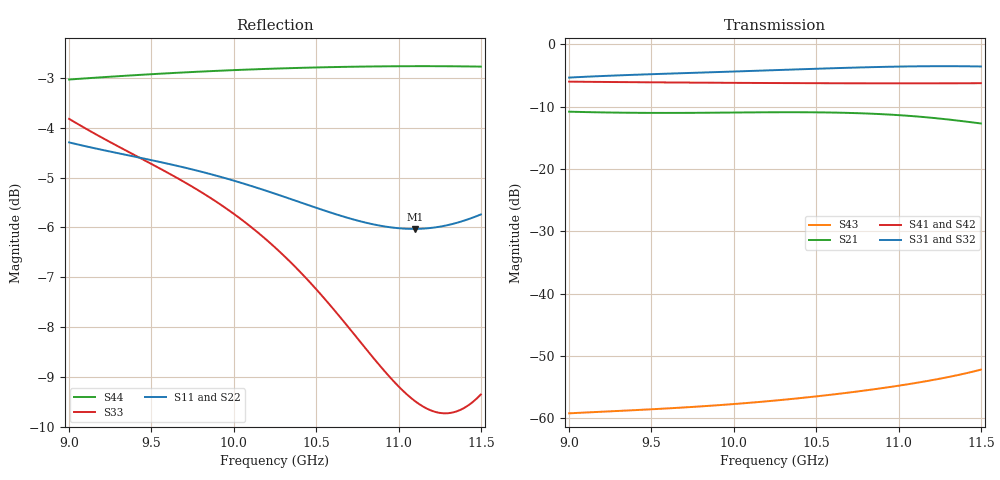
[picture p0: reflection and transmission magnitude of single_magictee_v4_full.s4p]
! Generated from PyAEDT SolutionData; AEDT ExportNetworkData workaround
# GHz S MA R 50
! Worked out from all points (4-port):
!   101 points, 9 GHz to 11.5 GHz, reference 50 ohm
!   strongest paths, dB at 9 GHz, 9.625 GHz, 10.25 GHz, 10.88 GHz, 11.5 GHz:
!     S31: -5.3, -4.7, -4.1, -3.6, -3.6
!     S32: -5.3, -4.7, -4.1, -3.6, -3.5
!     S41: -6.0, -6.1, -6.2, -6.3, -6.2
!     S42: -6.0, -6.1, -6.2, -6.3, -6.3
!     S21: -10.8, -11.0, -10.9, -11.2, -12.7
!     S43: -59.2, -58.4, -57.2, -55.3, -52.2
!   lowest |S11| = -6.0 dB at 11.1 GHz (marker M1), VSWR 3.00, Z = 17.2 + j8.34 ohm
!   |S11| at or under -10 dB: nowhere
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9  0.6099 28.4  0.2882 -68.3  0.5412 -4.2  0.502 42.0
   0.2882 -68.3  0.6115 28.4  0.5407 -4.1  0.5006 -137.8
   0.5412 -4.2  0.5407 -4.1  0.644 169.7  0.001096 51.4
   0.502 42.0  0.5006 -137.8  0.001096 51.4  0.7053 -148.2
9.4  0.5901 -19.7  0.2824 -123.3  0.5701 -75.2  0.497 -1.2
     0.2824 -123.3  0.5919 -19.7  0.5696 -75.1  0.4955 179.0
     0.5701 -75.2  0.5696 -75.1  0.592 77.0  0.001163 -20.7
     0.497 -1.2  0.4955 179.0  0.001163 -20.7  0.7124 174.9
9.725  0.5742 -57.5  0.2821 -166.2  0.5892 -130.7  0.4935 -35.1
       0.2821 -166.2  0.5761 -57.5  0.5887 -130.6  0.4919 145.0
       0.5892 -130.7  0.5887 -130.6  0.5534 5.0  0.001228 -77.2
       0.4935 -35.1  0.4919 145.0  0.001228 -77.2  0.7173 145.6
10.05  0.5552 -94.1  0.2841 151.5  0.6085 175.1  0.4907 -68.3
       0.2841 151.5  0.5573 -94.2  0.6081 175.1  0.4889 111.9
       0.6085 175.1  0.6081 175.1  0.5099 -65.1  0.001316 -132.6
       0.4907 -68.3  0.4889 111.9  0.001316 -132.6  0.7213 116.7
10.55  0.5212 -147.5  0.2843 86.9  0.6401 92.6  0.4877 -118.1
       0.2843 86.9  0.5235 -147.6  0.6398 92.7  0.4856 62.1
       0.6401 92.6  0.6398 92.7  0.4253 -174.2  0.001524 142.8
       0.4877 -118.1  0.4856 62.1  0.001524 142.8  0.7255 73.0
11.1  0.4995 158.7  0.2646 16.8  0.666 0.9  0.4867 -171.7
      0.2646 16.8  0.5021 158.6  0.6662 0.9  0.4839 8.4
      0.666 0.9  0.6662 0.9  0.3356 52.5  0.001916 48.3
      0.4867 -171.7  0.4839 8.4  0.001916 48.3  0.7273 25.1
11.5  0.5165 120.0  0.2319 -29.1  0.6644 -68.0  0.4879 149.7
      0.2319 -29.1  0.5195 119.8  0.6651 -68.0  0.4837 -30.2
      0.6644 -68.0  0.6651 -68.0  0.3408 -55.4  0.002456 -22.8
      0.4879 149.7  0.4837 -30.2  0.002456 -22.8  0.7266 -9.9
